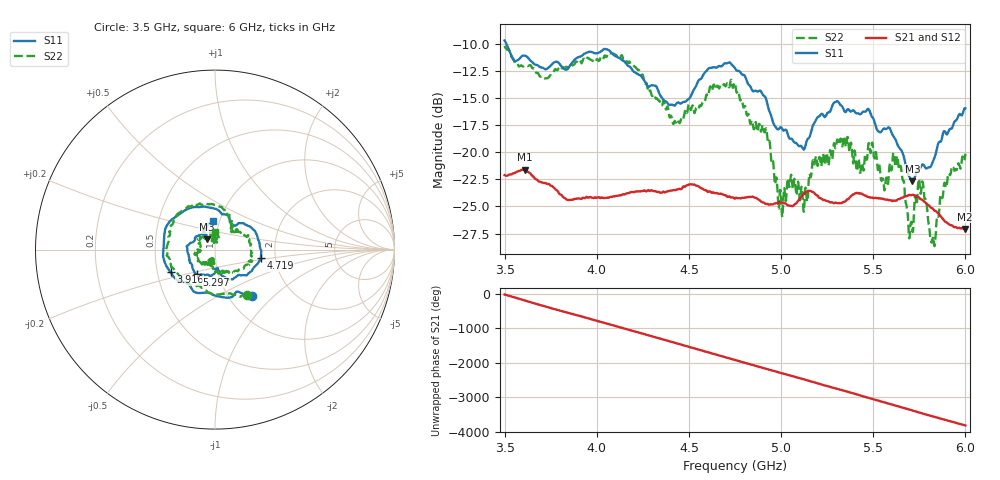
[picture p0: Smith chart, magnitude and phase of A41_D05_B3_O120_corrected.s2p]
! Created with skrf 1.9.0 (http://scikit-rf.org).
# Hz S RI R 50.0
!freq ReS11 ImS11 ReS21 ImS21 ReS12 ImS12 ReS22 ImS22
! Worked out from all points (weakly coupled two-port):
!   1601 points, 3.5 GHz to 6 GHz, reference 50 ohm
!   highest |S21| = -21.60 dB at 3.609 GHz (marker M1); lowest = -27.1 dB at 5.998 GHz (marker M2)
!   lowest |S11| = -22.7 dB at 5.713 GHz (marker M3), VSWR 1.16, Z = 45.3 + j5.18 ohm
!   |S11| at or under -10 dB: 3.51 GHz to end of sweep
!   |S22| runs from -28.7 to -10.2 dB; largest |S21 - S12| = 0.0012
!   S11 on the Smith chart (normalised r, x): 3.5 GHz: 1.28, -0.74; 3.916 GHz: 0.59, -0.16; 4.719 GHz: 1.68, -0.17; 5.297 GHz: 0.79, -0.22; 6 GHz: 0.93, +0.30
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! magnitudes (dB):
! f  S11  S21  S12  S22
! 3.5 GHz  -9.7  -22.1  -22.1  -10.2
! 3.609 GHz  -11.1  -21.6  -21.6  -12.0
! 3.916 GHz  -11.1  -24.3  -24.2  -11.7
! 3.917 GHz  -11.1  -24.3  -24.2  -11.8
! 4.127 GHz  -11.3  -24.0  -23.9  -11.2
! 4.334 GHz  -14.3  -23.7  -23.6  -15.2
! 4.441 GHz  -15.4  -23.4  -23.3  -17.2
! 4.719 GHz  -11.7  -24.1  -24.1  -14.0
! 4.75 GHz  -12.2  -24.3  -24.2  -13.6
! 4.912 GHz  -14.8  -24.7  -24.6  -18.1
! 4.997 GHz  -17.7  -24.6  -24.6  -23.5
! 5.131 GHz  -19.5  -23.7  -23.7  -23.4
! 5.167 GHz  -17.8  -23.6  -23.6  -21.5
! 5.297 GHz  -15.3  -24.6  -24.6  -19.5
! 5.584 GHz  -17.7  -24.4  -24.3  -22.1
! 5.639 GHz  -19.5  -24.3  -24.2  -21.5
! 5.713 GHz  -22.7  -23.9  -23.8  -27.2
! 5.758 GHz  -21.4  -24.3  -24.2  -23.8
! 5.827 GHz  -20.7  -25.3  -25.2  -27.9
! 5.895 GHz  -18.3  -26.4  -26.3  -23.3
! 5.998 GHz  -15.9  -27.1  -27.0  -20.3
! 6 GHz  -15.9  -27.1  -27.0  -20.1
